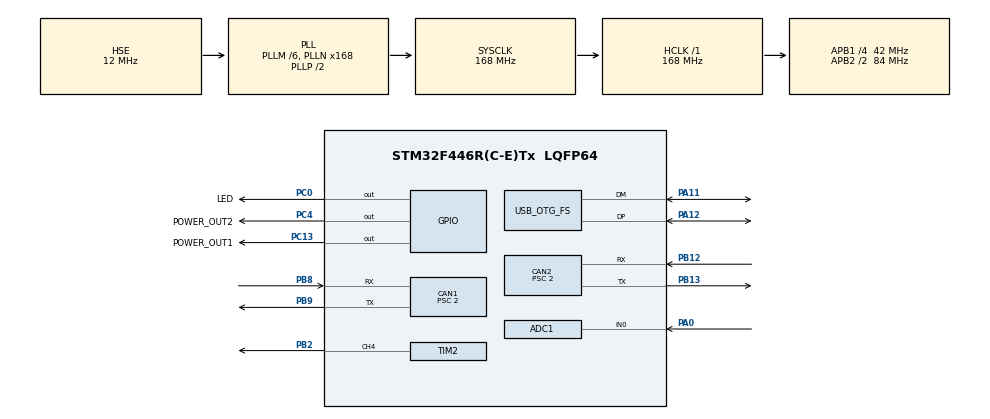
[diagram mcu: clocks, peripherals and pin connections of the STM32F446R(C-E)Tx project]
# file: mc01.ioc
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ADC1.Channel-0\#ChannelRegularConversion=ADC_CHANNEL_0
ADC1.ClockPrescaler=ADC_CLOCK_SYNC_PCLK_DIV4
ADC1.ContinuousConvMode=ENABLE
ADC1.NbrOfConversionFlag=1
ADC1.Rank-0\#ChannelRegularConversion=1
ADC1.SamplingTime-0\#ChannelRegularConversion=ADC_SAMPLETIME_3CYCLES
ADC1.master=1
CAN1.BS1=CAN_BS1_15TQ
CAN1.BS2=CAN_BS2_5TQ
CAN1.CalculateBaudRate=1000000
CAN1.CalculateTimeBit=1000
CAN1.CalculateTimeQuantum=47.61904761904762
CAN1.Prescaler=2
CAN2.BS1=CAN_BS1_15TQ
CAN2.BS2=CAN_BS2_5TQ
CAN2.CalculateBaudRate=1000000
CAN2.CalculateTimeBit=1000
CAN2.CalculateTimeQuantum=47.61904761904762
CAN2.Prescaler=2
FREERTOS.BinarySemaphores01=can1BinarySem,Static,can1BinarySemControlBlock,Depleted;can2BinarySem,Static,can2BinarySemControlBlock,Depleted;usbBinarySem,Static,usbBinarySemControlBlock,Depleted
FREERTOS.Mutexes01=motorDataMutex,Static,motorDataMutexControlBlock,Available
FREERTOS.Queues01=usbCmdQueue1,16,GlobalMotorCmd,0,Static,usbCmdQueue1Buffer,usbCmdQueue1ControlBlock;usbStateQueue,16,GlobalMotorState,0,Static,usbStateQueueBuffer,usbStateQueueControlBlock;usbCmdQueue2,16,GlobalMotorCmd,0,Static,usbCmdQueue2Buffer,usbCmdQueue2ControlBlock
FREERTOS.Tasks01=defaultTask,24,128,StartDefaultTask,As weak,NULL,Static,defaultTaskBuffer,defaultTaskControlBlock;can1CtrlTask,24,512,CAN1_CtrlTask,As weak,NULL,Static,can1CtrlTaskBuffer,can1CtrlTaskControlBlock;can2CtrlTask,24,512,CAN2_CtrlTask,As weak,NULL,Static,can2CtrlTaskBuffer,can2CtrlTaskControlBlock;usbTask,8,512,USB_Task,As weak,NULL,Static,usbTaskBuffer,usbTaskControlBlock;voltReadTask,8,128,VoltReadTask,As weak,NULL,Static,voltReadTaskBuffer,voltReadTaskControlBlock
Mcu.Family=STM32F4
Mcu.Name=STM32F446R(C-E)Tx
Mcu.Package=LQFP64
NVIC.ADC_IRQn=true\:5\:0\:false\:false\:true\:true\:true\:true\:true
NVIC.CAN1_RX0_IRQn=true\:5\:0\:true\:false\:true\:true\:true\:true\:true
NVIC.CAN1_RX1_IRQn=true\:5\:0\:false\:false\:true\:true\:true\:true\:true
NVIC.CAN1_TX_IRQn=true\:5\:0\:false\:false\:true\:true\:true\:true\:true
NVIC.CAN2_RX0_IRQn=true\:5\:0\:false\:false\:true\:true\:true\:true\:true
NVIC.CAN2_RX1_IRQn=true\:5\:0\:false\:false\:true\:true\:true\:true\:true
NVIC.CAN2_TX_IRQn=true\:5\:0\:false\:false\:true\:true\:true\:true\:true
NVIC.OTG_FS_IRQn=true\:5\:0\:false\:false\:true\:true\:false\:true\:true
NVIC.PriorityGroup=NVIC_PRIORITYGROUP_4
NVIC.TIM1_UP_TIM10_IRQn=true\:15\:0\:false\:false\:true\:false\:false\:true\:true
NVIC.TIM3_IRQn=true\:5\:0\:false\:false\:true\:true\:true\:true\:true
NVIC.TimeBase=TIM1_UP_TIM10_IRQn
NVIC.TimeBaseIP=TIM1
PA0-WKUP.Signal=ADCx_IN0
PA11.Mode=Device_Only
PA11.Signal=USB_OTG_FS_DM
PA12.Mode=Device_Only
PA12.Signal=USB_OTG_FS_DP
PA13.Mode=Serial_Wire
PA13.Signal=SYS_JTMS-SWDIO
PA14.Mode=Serial_Wire
PA14.Signal=SYS_JTCK-SWCLK
PB12.Mode=CAN_Activate
PB12.Signal=CAN2_RX
PB13.Mode=CAN_Activate
PB13.Signal=CAN2_TX
PB2.Signal=S_TIM2_CH4
PB8.Mode=CAN_Activate
PB8.Signal=CAN1_RX
PB9.Mode=CAN_Activate
PB9.Signal=CAN1_TX
PC0.GPIO_Label=LED
PC0.Signal=GPIO_Output
PC13.GPIO_Label=POWER_OUT1
PC13.PinState=GPIO_PIN_SET
PC13.Signal=GPIO_Output
PC4.GPIO_Label=POWER_OUT2
PC4.PinState=GPIO_PIN_SET
PC4.Signal=GPIO_Output
PH0-OSC_IN.Mode=HSE-External-Oscillator
PH0-OSC_IN.Signal=RCC_OSC_IN
PH1-OSC_OUT.Mode=HSE-External-Oscillator
PH1-OSC_OUT.Signal=RCC_OSC_OUT
ProjectManager.HeapSize=0x400
ProjectManager.StackSize=0x800
ProjectManager.TargetToolchain=MDK-ARM V5.27
RCC.AHBFreq_Value=168000000
RCC.APB1CLKDivider=RCC_HCLK_DIV4
RCC.APB1Freq_Value=42000000
RCC.APB1TimFreq_Value=84000000
RCC.APB2CLKDivider=RCC_HCLK_DIV2
RCC.APB2Freq_Value=84000000
RCC.APB2TimFreq_Value=168000000
RCC.CortexFreq_Value=168000000
RCC.HCLKFreq_Value=168000000
RCC.HSE_VALUE=12000000
RCC.PLLM=6
RCC.PLLN=168
RCC.PLLQ=7
RCC.PLLSAIM=6
RCC.PLLSAIN=96
RCC.PLLSAIP=RCC_PLLSAIP_DIV4
RCC.PLLSourceVirtual=RCC_PLLSOURCE_HSE
RCC.SYSCLKFreq_VALUE=168000000
RCC.SYSCLKSource=RCC_SYSCLKSOURCE_PLLCLK
RCC.USBFreq_Value=48000000
RCC.VCOOutputFreq_Value=336000000
SH.ADCx_IN0.0=ADC1_IN0,IN0
SH.S_TIM2_CH4.0=TIM2_CH4,PWM Generation4 CH4
TIM2.Channel-PWM\ Generation4\ CH4=TIM_CHANNEL_4
TIM2.Period=31111
TIM3.Period=1000
TIM3.Prescaler=84-1
USB_DEVICE.CLASS_NAME_FS=CDC
USB_DEVICE.VirtualMode-CDC_FS=Cdc
USB_DEVICE.VirtualModeFS=Cdc_FS
USB_OTG_FS.VirtualMode=Device_Only
VP_FREERTOS_VS_CMSIS_V2.Mode=CMSIS_V2
VP_SYS_VS_tim1.Mode=TIM1
VP_TIM3_VS_ClockSourceINT.Mode=Internal
VP_USB_DEVICE_VS_USB_DEVICE_CDC_FS.Mode=CDC_FS
board=custom

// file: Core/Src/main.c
/* USER CODE BEGIN Header */
/**
 ******************************************************************************
 * @file           : main.c
 * @brief          : Main program body
 ******************************************************************************
 * @attention
 *
 * Copyright (c) 2025 STMicroelectronics.
 * All rights reserved.
 *
 * This software is licensed under terms that can be found in the LICENSE file
 * in the root directory of this software component.
 * If no LICENSE file comes with this software, it is provided AS-IS.
 *
 ******************************************************************************
 */
/* USER CODE END Header */
#include "main.h"
#include "cmsis_os.h"
#include "adc.h"
#include "can.h"
#include "tim.h"
#include "usb_device.h"
#include "gpio.h"

/* USER CODE BEGIN Includes */
#include "bsp_can.h"
#include "dm_motor_ctrl.h"
#include "dm_motor_drv.h"
#include "stdint.h"
#include "usbd_cdc_if.h"

/* USER CODE END Includes */

/* USER CODE BEGIN PV */
extern TIM_HandleTypeDef htim2;

// uint8_t usb_rx_buffer[64];
// uint8_t usb_tx_buffer[64];

extern osSemaphoreId_t can1BinarySemHandle;
extern osSemaphoreId_t can2BinarySemHandle;
/* USER CODE END PV */

void SystemClock_Config(void);
void MX_FREERTOS_Init(void);
/* USER CODE BEGIN PFP */
float get_battery_voltage(void);
/* USER CODE END PFP */

int main(void)
{

  /* MCU Configuration--------------------------------------------------------*/

  /* Reset of all peripherals, Initializes the Flash interface and the Systick. */
  HAL_Init();

  /* Configure the system clock */
  SystemClock_Config();

  /* Initialize all configured peripherals */
  MX_GPIO_Init();
  MX_ADC1_Init();
  MX_TIM2_Init();
  MX_CAN1_Init();
  MX_CAN2_Init();
  MX_TIM3_Init();
  /* USER CODE BEGIN 2 */
    // HAL_TIM_PWM_Start(&htim2, TIM_CHANNEL_4);
    MX_USB_DEVICE_Init();
    bsp_can_init();
    dm_motor_init();
    HAL_Delay(1000);
  /* USER CODE END 2 */

  /* Init scheduler */
  osKernelInitialize();

  /* Call init function for freertos objects (in cmsis_os2.c) */
  MX_FREERTOS_Init();

  /* Start scheduler */
  osKernelStart();

  /* We should never get here as control is now taken by the scheduler */

  /* Infinite loop */
    while (1)
    {

    /* USER CODE BEGIN 3 */
        // CDC_Transmit_FS("USB CDC Hello!\n",15);
        // sprintf((char*)usb_tx_buffer, "STM32 Time: %lu ms\r\n", HAL_GetTick());
        // CDC_Transmit_FS(usb_tx_buffer, strlen((char*)usb_tx_buffer));
        // voltage = get_battery_voltage();
        // HAL_GPIO_TogglePin(LED_GPIO_Port, LED_Pin);
        // HAL_Delay(100);
    }
  /* USER CODE END 3 */
}

void SystemClock_Config(void)
{
  RCC_OscInitTypeDef RCC_OscInitStruct = {0};
  RCC_ClkInitTypeDef RCC_ClkInitStruct = {0};

  /** Configure the main internal regulator output voltage
  */
  __HAL_RCC_PWR_CLK_ENABLE();
  __HAL_PWR_VOLTAGESCALING_CONFIG(PWR_REGULATOR_VOLTAGE_SCALE1);

  /** Initializes the RCC Oscillators according to the specified parameters
  * in the RCC_OscInitTypeDef structure.
  */
  RCC_OscInitStruct.OscillatorType = RCC_OSCILLATORTYPE_HSE;
  RCC_OscInitStruct.HSEState = RCC_HSE_ON;
  RCC_OscInitStruct.PLL.PLLState = RCC_PLL_ON;
  RCC_OscInitStruct.PLL.PLLSource = RCC_PLLSOURCE_HSE;
  RCC_OscInitStruct.PLL.PLLM = 6;
  RCC_OscInitStruct.PLL.PLLN = 168;
  RCC_OscInitStruct.PLL.PLLP = RCC_PLLP_DIV2;
  RCC_OscInitStruct.PLL.PLLQ = 7;
  RCC_OscInitStruct.PLL.PLLR = 2;
  if (HAL_RCC_OscConfig(&RCC_OscInitStruct) != HAL_OK)
  {
    Error_Handler();
  }

  /** Initializes the CPU, AHB and APB buses clocks
  */
  RCC_ClkInitStruct.ClockType = RCC_CLOCKTYPE_HCLK|RCC_CLOCKTYPE_SYSCLK
                              |RCC_CLOCKTYPE_PCLK1|RCC_CLOCKTYPE_PCLK2;
  RCC_ClkInitStruct.SYSCLKSource = RCC_SYSCLKSOURCE_PLLCLK;
  RCC_ClkInitStruct.AHBCLKDivider = RCC_SYSCLK_DIV1;
  RCC_ClkInitStruct.APB1CLKDivider = RCC_HCLK_DIV4;
  RCC_ClkInitStruct.APB2CLKDivider = RCC_HCLK_DIV2;

  if (HAL_RCC_ClockConfig(&RCC_ClkInitStruct, FLASH_LATENCY_5) != HAL_OK)
  {
    Error_Handler();
  }
}

void HAL_TIM_PeriodElapsedCallback(TIM_HandleTypeDef *htim)
{
  if (htim->Instance == TIM1)
  {
    HAL_IncTick();
  }
  /* USER CODE BEGIN Callback 1 */
    if (htim->Instance == TIM3)
    {
        osSemaphoreRelease(can1BinarySemHandle);
        osSemaphoreRelease(can2BinarySemHandle);
    }
  /* USER CODE END Callback 1 */
}

void Error_Handler(void)
{
    __disable_irq();
    while (1)
    {
    }
}

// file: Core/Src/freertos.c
/* USER CODE BEGIN Header */
/**
 ******************************************************************************
 * File Name          : freertos.c
 * Description        : Code for freertos applications
 ******************************************************************************
 * @attention
 *
 * Copyright (c) 2025 STMicroelectronics.
 * All rights reserved.
 *
 * This software is licensed under terms that can be found in the LICENSE file
 * in the root directory of this software component.
 * If no LICENSE file comes with this software, it is provided AS-IS.
 *
 ******************************************************************************
 */
/* USER CODE END Header */

#include "FreeRTOS.h"
#include "task.h"
#include "main.h"
#include "cmsis_os.h"

/* USER CODE BEGIN Includes */
#include "state_data.h"
/* USER CODE END Includes */

typedef StaticTask_t osStaticThreadDef_t;
typedef StaticQueue_t osStaticMessageQDef_t;
typedef StaticSemaphore_t osStaticMutexDef_t;
typedef StaticSemaphore_t osStaticSemaphoreDef_t;

/* Definitions for defaultTask */
osThreadId_t defaultTaskHandle;
uint32_t defaultTaskBuffer[ 128 ];
osStaticThreadDef_t defaultTaskControlBlock;
const osThreadAttr_t defaultTask_attributes = {
  .name = "defaultTask",
  .cb_mem = &defaultTaskControlBlock,
  .cb_size = sizeof(defaultTaskControlBlock),
  .stack_mem = &defaultTaskBuffer[0],
  .stack_size = sizeof(defaultTaskBuffer),
  .priority = (osPriority_t) osPriorityNormal,
};
/* Definitions for can1CtrlTask */
osThreadId_t can1CtrlTaskHandle;
uint32_t can1CtrlTaskBuffer[ 512 ];
osStaticThreadDef_t can1CtrlTaskControlBlock;
const osThreadAttr_t can1CtrlTask_attributes = {
  .name = "can1CtrlTask",
  .cb_mem = &can1CtrlTaskControlBlock,
  .cb_size = sizeof(can1CtrlTaskControlBlock),
  .stack_mem = &can1CtrlTaskBuffer[0],
  .stack_size = sizeof(can1CtrlTaskBuffer),
  .priority = (osPriority_t) osPriorityNormal,
};
/* Definitions for can2CtrlTask */
osThreadId_t can2CtrlTaskHandle;
uint32_t can2CtrlTaskBuffer[ 512 ];
osStaticThreadDef_t can2CtrlTaskControlBlock;
const osThreadAttr_t can2CtrlTask_attributes = {
  .name = "can2CtrlTask",
  .cb_mem = &can2CtrlTaskControlBlock,
  .cb_size = sizeof(can2CtrlTaskControlBlock),
  .stack_mem = &can2CtrlTaskBuffer[0],
  .stack_size = sizeof(can2CtrlTaskBuffer),
  .priority = (osPriority_t) osPriorityNormal,
};
/* Definitions for usbTask */
osThreadId_t usbTaskHandle;
uint32_t usbTaskBuffer[ 512 ];
osStaticThreadDef_t usbTaskControlBlock;
const osThreadAttr_t usbTask_attributes = {
  .name = "usbTask",
  .cb_mem = &usbTaskControlBlock,
  .cb_size = sizeof(usbTaskControlBlock),
  .stack_mem = &usbTaskBuffer[0],
  .stack_size = sizeof(usbTaskBuffer),
  .priority = (osPriority_t) osPriorityLow,
};
/* Definitions for voltReadTask */
osThreadId_t voltReadTaskHandle;
uint32_t voltReadTaskBuffer[ 128 ];
osStaticThreadDef_t voltReadTaskControlBlock;
const osThreadAttr_t voltReadTask_attributes = {
  .name = "voltReadTask",
  .cb_mem = &voltReadTaskControlBlock,
  .cb_size = sizeof(voltReadTaskControlBlock),
  .stack_mem = &voltReadTaskBuffer[0],
  .stack_size = sizeof(voltReadTaskBuffer),
  .priority = (osPriority_t) osPriorityLow,
};
/* Definitions for usbCmdQueue1 */
osMessageQueueId_t usbCmdQueue1Handle;
uint8_t usbCmdQueue1Buffer[ 16 * sizeof( GlobalMotorCmd ) ];
osStaticMessageQDef_t usbCmdQueue1ControlBlock;
const osMessageQueueAttr_t usbCmdQueue1_attributes = {
  .name = "usbCmdQueue1",
  .cb_mem = &usbCmdQueue1ControlBlock,
  .cb_size = sizeof(usbCmdQueue1ControlBlock),
  .mq_mem = &usbCmdQueue1Buffer,
  .mq_size = sizeof(usbCmdQueue1Buffer)
};
/* Definitions for usbStateQueue */
osMessageQueueId_t usbStateQueueHandle;
uint8_t usbStateQueueBuffer[ 16 * sizeof( GlobalMotorState ) ];
osStaticMessageQDef_t usbStateQueueControlBlock;
const osMessageQueueAttr_t usbStateQueue_attributes = {
  .name = "usbStateQueue",
  .cb_mem = &usbStateQueueControlBlock,
  .cb_size = sizeof(usbStateQueueControlBlock),
  .mq_mem = &usbStateQueueBuffer,
  .mq_size = sizeof(usbStateQueueBuffer)
};
/* Definitions for usbCmdQueue2 */
osMessageQueueId_t usbCmdQueue2Handle;
uint8_t usbCmdQueue2Buffer[ 16 * sizeof( GlobalMotorCmd ) ];
osStaticMessageQDef_t usbCmdQueue2ControlBlock;
const osMessageQueueAttr_t usbCmdQueue2_attributes = {
  .name = "usbCmdQueue2",
  .cb_mem = &usbCmdQueue2ControlBlock,
  .cb_size = sizeof(usbCmdQueue2ControlBlock),
  .mq_mem = &usbCmdQueue2Buffer,
  .mq_size = sizeof(usbCmdQueue2Buffer)
};
/* Definitions for motorDataMutex */
osMutexId_t motorDataMutexHandle;
osStaticMutexDef_t motorDataMutexControlBlock;
const osMutexAttr_t motorDataMutex_attributes = {
  .name = "motorDataMutex",
  .cb_mem = &motorDataMutexControlBlock,
  .cb_size = sizeof(motorDataMutexControlBlock),
};
/* Definitions for can1BinarySem */
osSemaphoreId_t can1BinarySemHandle;
osStaticSemaphoreDef_t can1BinarySemControlBlock;
const osSemaphoreAttr_t can1BinarySem_attributes = {
  .name = "can1BinarySem",
  .cb_mem = &can1BinarySemControlBlock,
  .cb_size = sizeof(can1BinarySemControlBlock),
};
/* Definitions for can2BinarySem */
osSemaphoreId_t can2BinarySemHandle;
osStaticSemaphoreDef_t can2BinarySemControlBlock;
const osSemaphoreAttr_t can2BinarySem_attributes = {
  .name = "can2BinarySem",
  .cb_mem = &can2BinarySemControlBlock,
  .cb_size = sizeof(can2BinarySemControlBlock),
};
/* Definitions for usbBinarySem */
osSemaphoreId_t usbBinarySemHandle;
osStaticSemaphoreDef_t usbBinarySemControlBlock;
const osSemaphoreAttr_t usbBinarySem_attributes = {
  .name = "usbBinarySem",
  .cb_mem = &usbBinarySemControlBlock,
  .cb_size = sizeof(usbBinarySemControlBlock),
};

void StartDefaultTask(void *argument);
void CAN1_CtrlTask(void *argument);
void CAN2_CtrlTask(void *argument);
void USB_Task(void *argument);
void VoltReadTask(void *argument);

extern void MX_USB_DEVICE_Init(void);
void MX_FREERTOS_Init(void); /* (MISRA C 2004 rule 8.1) */

void MX_FREERTOS_Init(void) {
  /* Create the mutex(es) */
  /* creation of motorDataMutex */
  motorDataMutexHandle = osMutexNew(&motorDataMutex_attributes);

  /* Create the semaphores(s) */
  /* creation of can1BinarySem */
  can1BinarySemHandle = osSemaphoreNew(1, 0, &can1BinarySem_attributes);

  /* creation of can2BinarySem */
  can2BinarySemHandle = osSemaphoreNew(1, 0, &can2BinarySem_attributes);

  /* creation of usbBinarySem */
  usbBinarySemHandle = osSemaphoreNew(1, 0, &usbBinarySem_attributes);

  /* Create the queue(s) */
  /* creation of usbCmdQueue1 */
  usbCmdQueue1Handle = osMessageQueueNew (16, sizeof(GlobalMotorCmd), &usbCmdQueue1_attributes);

  /* creation of usbStateQueue */
  usbStateQueueHandle = osMessageQueueNew (16, sizeof(GlobalMotorState), &usbStateQueue_attributes);

  /* creation of usbCmdQueue2 */
  usbCmdQueue2Handle = osMessageQueueNew (16, sizeof(GlobalMotorCmd), &usbCmdQueue2_attributes);

  /* Create the thread(s) */
  /* creation of defaultTask */
  defaultTaskHandle = osThreadNew(StartDefaultTask, NULL, &defaultTask_attributes);

  /* creation of can1CtrlTask */
  can1CtrlTaskHandle = osThreadNew(CAN1_CtrlTask, NULL, &can1CtrlTask_attributes);

  /* creation of can2CtrlTask */
  can2CtrlTaskHandle = osThreadNew(CAN2_CtrlTask, NULL, &can2CtrlTask_attributes);

  /* creation of usbTask */
  usbTaskHandle = osThreadNew(USB_Task, NULL, &usbTask_attributes);

  /* creation of voltReadTask */
  voltReadTaskHandle = osThreadNew(VoltReadTask, NULL, &voltReadTask_attributes);

}

__weak void StartDefaultTask(void *argument)
{
  /* init code for USB_DEVICE */
  MX_USB_DEVICE_Init();
  /* USER CODE BEGIN StartDefaultTask */
    /* Infinite loop */
    for (;;)
    {
        HAL_GPIO_TogglePin(LED_GPIO_Port, LED_Pin);
        osDelay(500);
    }
  /* USER CODE END StartDefaultTask */
}

__weak void CAN1_CtrlTask(void *argument)
{
    for (;;)
    {
        osDelay(1);
    }
}

__weak void CAN2_CtrlTask(void *argument)
{
    for (;;)
    {
        osDelay(1);
    }
}

__weak void USB_Task(void *argument)
{
    for (;;)
    {
        osDelay(1);
    }
}

__weak void VoltReadTask(void *argument)
{
    for (;;)
    {
        osDelay(1);
    }
}
